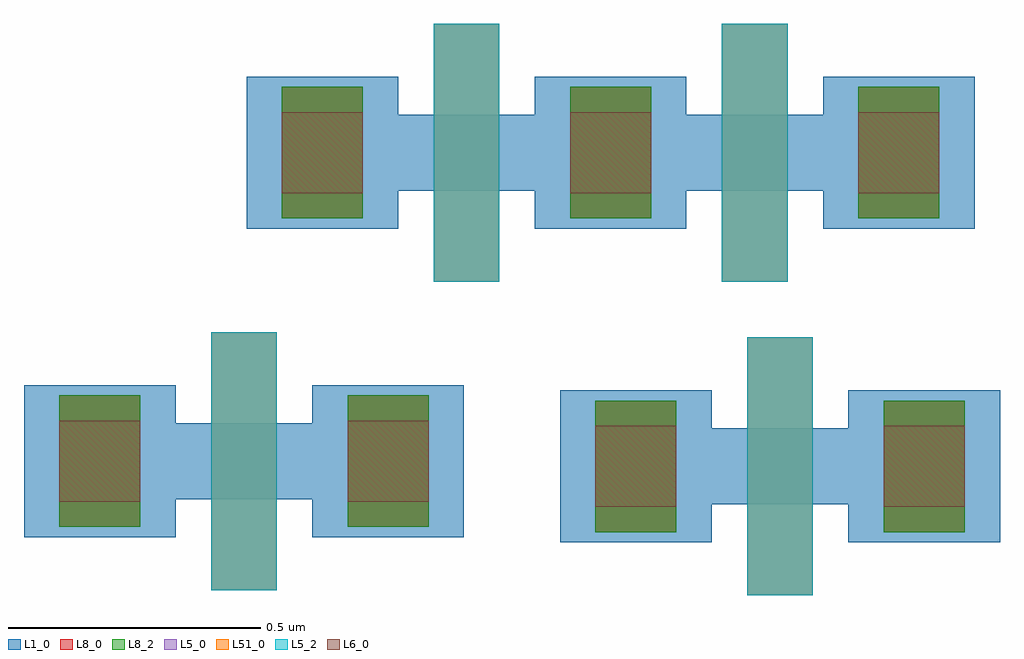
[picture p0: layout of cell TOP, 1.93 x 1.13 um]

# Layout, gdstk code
import gdstk
lib = gdstk.Library(unit=1e-6, precision=5e-09)
def R(c, l, rs):  # rectangles x0, y0, x1, y1
    for r in rs: c.add(gdstk.rectangle(r[:2], r[2:], *l))
L1_0 = (1, 0)
L5_0 = (5, 0)
L5_2 = (5, 2)
L6_0 = (6, 0)
L8_0 = (8, 0)
L8_2 = (8, 2)
L51_0 = (51, 0)

nmos = lib.new_cell('nmos')
R(nmos, L1_0, [(0,0,0.3,0.3), (0.57,0,0.87,0.3), (0,0.075,0.87,0.225)])
R(nmos, L5_0, [(0.37,-0.105,0.5,0.405)])
R(nmos, L5_2, [(0.37,-0.105,0.5,0.405)])
R(nmos, L6_0, [(0.07,0.07,0.23,0.23), (0.64,0.07,0.8,0.23)])
R(nmos, L8_0, [(0.07,0.02,0.23,0.28), (0.64,0.02,0.8,0.28)])
R(nmos, L8_2, [(0.07,0.02,0.23,0.28), (0.64,0.02,0.8,0.28)])
R(nmos, L51_0, [(0.37,-0.105,0.5,0.405)])
nmos.add(gdstk.Label('nmos', (0.435,0.15), layer=63, texttype=0))
nmos.add(gdstk.Label('nmos', (0.435,0.15), layer=51, texttype=0))

top = lib.new_cell('TOP')
top.add(gdstk.Reference(nmos, (-0.75,0.085)))
top.add(gdstk.Reference(nmos, (-0.18,0.085)))
top.add(gdstk.Reference(nmos, (-1.19,-0.525)))
top.add(gdstk.Reference(nmos, (-0.13,-0.535)))

lib.write_gds('TOP.gds')
